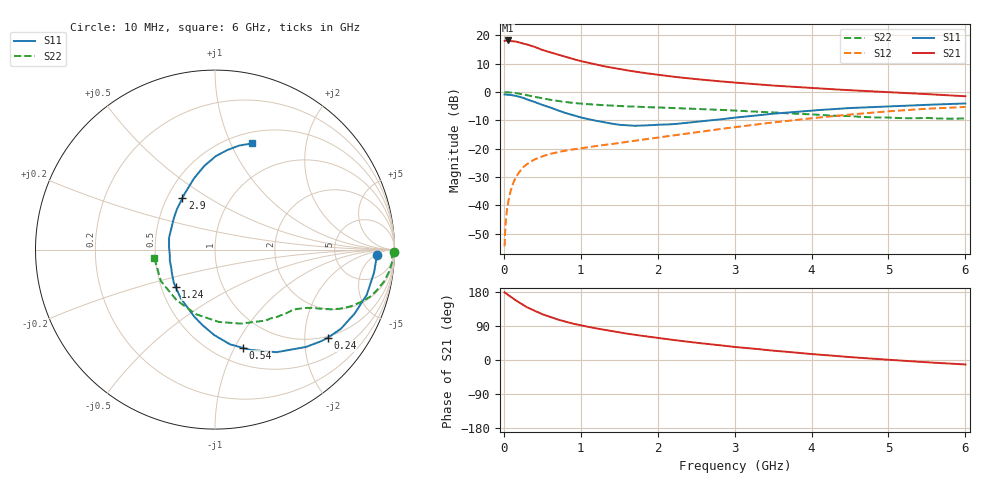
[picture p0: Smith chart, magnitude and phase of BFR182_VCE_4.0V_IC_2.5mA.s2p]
! Infineon Technologies  Discrete & RF Semiconductors
! BFR182
! VCE =  4.0 V,  IC =  2.5 mA
! Common Emitter S-Parameters:  Nov 2015
# GHz  S  MA  R  50
!  f  S11  S21  S12  S22
! GHz  MAG  ANG  MAG  ANG  MAG  ANG  MAG  ANG
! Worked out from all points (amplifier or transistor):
!   210 points, 10 MHz to 6 GHz, reference 50 ohm
!   highest |S21| = 18.2 dB at 50 MHz (marker M1)
!   |S21| within 3 dB of that: start of sweep to 467.7 MHz
!   unconditionally stable (mu >= 1): 1.381 GHz to 3.027 GHz
!   at 185 MHz: K = 0.21, MSG = 23.3 dB, |S12| = -28.9 dB
!   at 1.52 GHz: K = 1.03, MAG = 11.9 dB, |S12| = -17.9 dB
!   at 6 GHz: K = 0.89, MSG = 1.9 dB, |S12| = -5.3 dB
!   S11 on the Smith chart (normalised r, x): 10 MHz: 18, -6; 240 MHz: 0.96, -2.58; 540 MHz: 0.67, -1.08; 1.24 GHz: 0.59, -0.27; 2.9 GHz: 0.60, +0.39; 6 GHz: 0.62, +1.21
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0.01  0.9039 -1.8  7.989 178.7  0.0019 91.3  0.9956 -0.8
0.025  0.8991 -4.1  8.065 176.2  0.0052 91.4  0.9853 -1.9
0.05  0.8954 -8.2  8.117 172.8  0.01 86.3  0.9904 -3.8
0.095  0.8827 -15.8  7.9 166.6  0.0193 80.6  0.9786 -6.9
0.15  0.8554 -24.7  7.812 158.0  0.0301 75.2  0.9574 -10.8
0.24  0.7972 -38.1  7.223 146.8  0.0451 69.0  0.9138 -15.8
0.3  0.7419 -47.0  6.904 139.3  0.0531 65.8  0.8781 -18.8
0.4  0.6667 -59.0  6.255 129.8  0.0645 60.2  0.8216 -22.6
0.5  0.5936 -70.4  5.528 120.8  0.0732 57.1  0.7725 -25.2
0.54  0.5679 -74.3  5.317 118.0  0.0762 55.9  0.7556 -25.9
0.7  0.4751 -90.7  4.59 106.8  0.0867 53.0  0.6942 -28.5
0.8  0.4262 -99.5  4.165 101.0  0.0922 52.1  0.6649 -29.6
0.9  0.3908 -107.2  3.809 95.9  0.0971 51.7  0.6409 -30.5
1.02  0.3502 -117.7  3.463 90.8  0.1026 51.5  0.6206 -31.6
1.24  0.3031 -136.3  2.971 82.0  0.113 52.2  0.5912 -33.5
1.6  0.259 -166.3  2.41 69.6  0.1318 54.3  0.558 -36.7
2.02  0.2646 164.2  1.99 57.8  0.1582 56.3  0.5326 -41.7
2.9  0.3388 122.5  1.506 36.8  0.2299 56.1  0.4776 -56.3
3.1  0.3627 116.3  1.433 32.6  0.2492 55.2  0.4615 -60.6
4.1  0.48 95.5  1.156 14.2  0.3545 47.3  0.3945 -90.6
5.1  0.5653 81.7  0.979 -0.8  0.4653 35.0  0.3486 -131.6
6  0.6271 70.7  0.841 -11.8  0.5443 21.1  0.3411 -171.8
